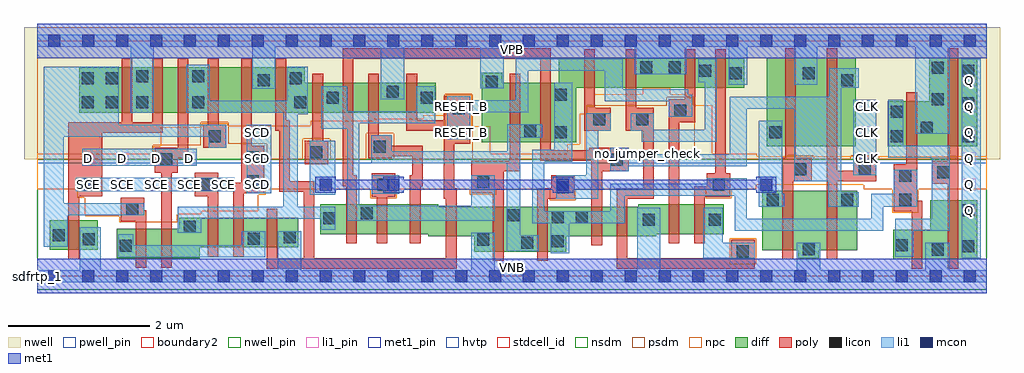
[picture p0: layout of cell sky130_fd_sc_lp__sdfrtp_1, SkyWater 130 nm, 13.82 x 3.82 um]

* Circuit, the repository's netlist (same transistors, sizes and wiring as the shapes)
* Copyright 2020 The SkyWater PDK Authors
*
* Licensed under the Apache License, Version 2.0 (the "License");
* you may not use this file except in compliance with the License.
* You may obtain a copy of the License at
*
*     https://www.apache.org/licenses/LICENSE-2.0
*
* Unless required by applicable law or agreed to in writing, software
* distributed under the License is distributed on an "AS IS" BASIS,
* WITHOUT WARRANTIES OR CONDITIONS OF ANY KIND, either express or implied.
* See the License for the specific language governing permissions and
* limitations under the License.
*
* SPDX-License-Identifier: Apache-2.0

.SUBCKT sky130_fd_sc_lp__sdfrtp_1 CLK D RESET_B SCD SCE VGND VNB VPB VPWR Q
*.PININFO CLK:I D:I RESET_B:I SCD:I SCE:I VGND:I VNB:I VPB:I VPWR:I
*.PININFO Q:O
MI642 clkneg CLK VGND VNB sky130_fd_pr__nfet_01v8 m=1 w=0.84U l=0.15U mult=1 sa=0.265
+ sb=0.265 sd=0.28 area=0.063 perim=1.14
MI636 clkpos clkneg VGND VNB sky130_fd_pr__nfet_01v8 m=1 w=0.84U l=0.15U mult=1
+ sa=0.265 sb=0.265 sd=0.28 area=0.063 perim=1.14
MI42 db clkneg M0 VNB sky130_fd_pr__nfet_01v8 m=1 w=0.42U l=0.15U mult=1 sa=0.265
+ sb=0.265 sd=0.28 area=0.063 perim=1.14
MI656 net062 s0 net048 VNB sky130_fd_pr__nfet_01v8 m=1 w=0.42U l=0.15U mult=1 sa=0.265
+ sb=0.265 sd=0.28 area=0.063 perim=1.14
MI657 net048 RESET_B VGND VNB sky130_fd_pr__nfet_01v8 m=1 w=0.42U l=0.15U mult=1
+ sa=0.265 sb=0.265 sd=0.28 area=0.063 perim=1.14
MI33 net069 RESET_B VGND VNB sky130_fd_pr__nfet_01v8 m=1 w=0.42U l=0.15U mult=1
+ sa=0.265 sb=0.265 sd=0.28 area=0.063 perim=1.14
MI634 sceb SCE VGND VNB sky130_fd_pr__nfet_01v8 m=1 w=0.42U l=0.15U mult=1 sa=0.265
+ sb=0.265 sd=0.28 area=0.063 perim=1.14
MI4 M0 clkpos net077 VNB sky130_fd_pr__nfet_01v8 m=1 w=0.42U l=0.15U mult=1 sa=0.265
+ sb=0.265 sd=0.28 area=0.063 perim=1.14
MI34 net077 M1 net069 VNB sky130_fd_pr__nfet_01v8 m=1 w=0.42U l=0.15U mult=1 sa=0.265
+ sb=0.265 sd=0.28 area=0.063 perim=1.14
MI655 s0 clkneg net061 VNB sky130_fd_pr__nfet_01v8 m=1 w=0.42U l=0.15U mult=1 sa=0.265
+ sb=0.265 sd=0.28 area=0.063 perim=1.14
MI652 net041 s0 VGND VNB sky130_fd_pr__nfet_01v8 m=1 w=0.42U l=0.15U mult=1 sa=0.265
+ sb=0.265 sd=0.28 area=0.063 perim=1.14
MI653 Q net041 VGND VNB sky130_fd_pr__nfet_01v8 m=1 w=0.84U l=0.15U mult=1 sa=0.265
+ sb=0.265 sd=0.28 area=0.063 perim=1.14
MI654 net061 net062 VGND VNB sky130_fd_pr__nfet_01v8 m=1 w=0.42U l=0.15U mult=1
+ sa=0.265 sb=0.265 sd=0.28 area=0.063 perim=1.14
MI647 M1 M0 VGND VNB sky130_fd_pr__nfet_01v8 m=1 w=0.64U l=0.15U mult=1 sa=0.265
+ sb=0.265 sd=0.28 area=0.063 perim=1.14
MI649 M1 clkpos s0 VNB sky130_fd_pr__nfet_01v8 m=1 w=0.64U l=0.15U mult=1 sa=0.265
+ sb=0.265 sd=0.28 area=0.063 perim=1.14
MI666 net84 RESET_B VGND VNB sky130_fd_pr__nfet_01v8 m=1 w=0.42U l=0.15U mult=1
+ sa=0.265 sb=0.265 sd=0.28 area=0.525 perim=3.1
MI98 db D n0 VNB sky130_fd_pr__nfet_01v8 m=1 w=0.42U l=0.15U mult=1 sa=0.265 sb=0.265
+ sd=0.28 area=0.525 perim=3.1
MI103 n1 SCD net84 VNB sky130_fd_pr__nfet_01v8 m=1 w=0.42U l=0.15U mult=1 sa=0.265
+ sb=0.265 sd=0.28 area=0.525 perim=3.1
MI120 db SCE n1 VNB sky130_fd_pr__nfet_01v8 m=1 w=0.42U l=0.15U mult=1 sa=0.265
+ sb=0.265 sd=0.28 area=0.525 perim=3.1
MI104 n0 sceb net84 VNB sky130_fd_pr__nfet_01v8 m=1 w=0.42U l=0.15U mult=1 sa=0.265
+ sb=0.265 sd=0.28 area=0.525 perim=3.1
MI643 clkneg CLK VPWR VPB sky130_fd_pr__pfet_01v8_hvt m=1 w=1.26U l=0.15U mult=1
+ sa=0.265 sb=0.265 sd=0.28 area=0.063 perim=1.14
MI635 clkpos clkneg VPWR VPB sky130_fd_pr__pfet_01v8_hvt m=1 w=1.26U l=0.15U mult=1
+ sa=0.265 sb=0.265 sd=0.28 area=0.063 perim=1.14
MI43 db clkpos M0 VPB sky130_fd_pr__pfet_01v8_hvt m=1 w=0.42U l=0.15U mult=1 sa=0.265
+ sb=0.265 sd=0.28 area=0.063 perim=1.14
MI662 net0133 net062 VPWR VPB sky130_fd_pr__pfet_01v8_hvt m=1 w=0.42U l=0.15U mult=1
+ sa=0.265 sb=0.265 sd=0.28 area=0.063 perim=1.14
MI659 net062 RESET_B VPWR VPB sky130_fd_pr__pfet_01v8_hvt m=1 w=0.42U l=0.15U mult=1
+ sa=0.265 sb=0.265 sd=0.28 area=0.063 perim=1.14
MI664 s0 clkpos net0133 VPB sky130_fd_pr__pfet_01v8_hvt m=1 w=0.42U l=0.15U mult=1
+ sa=0.265 sb=0.265 sd=0.28 area=0.063 perim=1.14
MI658 net062 s0 VPWR VPB sky130_fd_pr__pfet_01v8_hvt m=1 w=0.42U l=0.15U mult=1
+ sa=0.265 sb=0.265 sd=0.28 area=0.063 perim=1.14
MI30 net0156 M1 VPWR VPB sky130_fd_pr__pfet_01v8_hvt m=1 w=0.42U l=0.15U mult=1
+ sa=0.265 sb=0.265 sd=0.28 area=0.063 perim=1.14
MI31 M0 clkneg net0156 VPB sky130_fd_pr__pfet_01v8_hvt m=1 w=0.42U l=0.15U mult=1
+ sa=0.265 sb=0.265 sd=0.28 area=0.063 perim=1.14
MI32 M0 RESET_B VPWR VPB sky130_fd_pr__pfet_01v8_hvt m=1 w=0.42U l=0.15U mult=1
+ sa=0.265 sb=0.265 sd=0.28 area=0.063 perim=1.14
MI663 net041 s0 VPWR VPB sky130_fd_pr__pfet_01v8_hvt m=1 w=0.64U l=0.15U mult=1
+ sa=0.265 sb=0.265 sd=0.28 area=0.063 perim=1.14
MI660 Q net041 VPWR VPB sky130_fd_pr__pfet_01v8_hvt m=1 w=1.26U l=0.15U mult=1
+ sa=0.265 sb=0.265 sd=0.28 area=0.063 perim=1.14
MI648 M1 M0 VPWR VPB sky130_fd_pr__pfet_01v8_hvt m=1 w=0.84U l=0.15U mult=1 sa=0.265
+ sb=0.265 sd=0.28 area=0.063 perim=1.14
MI650 M1 clkneg s0 VPB sky130_fd_pr__pfet_01v8_hvt m=1 w=0.84U l=0.15U mult=1 sa=0.265
+ sb=0.265 sd=0.28 area=0.063 perim=1.14
MI633 sceb SCE VPWR VPB sky130_fd_pr__pfet_01v8_hvt m=1 w=0.64U l=0.15U mult=1
+ sa=0.265 sb=0.265 sd=0.28 area=0.063 perim=1.14
MI101 db sceb p1 VPB sky130_fd_pr__pfet_01v8_hvt m=1 w=0.64U l=0.15U mult=1 sa=0.265
+ sb=0.265 sd=0.28 area=0.063 perim=1.14
MI107 p0 SCE VPWR VPB sky130_fd_pr__pfet_01v8_hvt m=1 w=0.64U l=0.15U mult=1 sa=0.265
+ sb=0.265 sd=0.28 area=0.063 perim=1.14
MI94 db D p0 VPB sky130_fd_pr__pfet_01v8_hvt m=1 w=0.64U l=0.15U mult=1 sa=0.265
+ sb=0.265 sd=0.28 area=0.063 perim=1.14
MI108 p1 SCD VPWR VPB sky130_fd_pr__pfet_01v8_hvt m=1 w=0.64U l=0.15U mult=1 sa=0.265
+ sb=0.265 sd=0.28 area=0.063 perim=1.14
MI665 db RESET_B VPWR VPB sky130_fd_pr__pfet_01v8_hvt m=1 w=0.64U l=0.15U mult=1
+ sa=0.265 sb=0.265 sd=0.28 area=0.063 perim=1.14
.ENDS sky130_fd_sc_lp__sdfrtp_1

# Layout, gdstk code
import gdstk
lib = gdstk.Library(unit=1e-6, precision=1e-09)
def R(c, l, rs):  # rectangles x0, y0, x1, y1
    for r in rs: c.add(gdstk.rectangle(r[:2], r[2:], *l))
def A(c, l, x, y, w, h, nx, ny, dx, dy):  # array of equal rectangles
    R(c, l, [(x+i*dx, y+j*dy, x+i*dx+w, y+j*dy+h) for i in range(nx) for j in range(ny)])
def P(c, l, *ps):  # polygons
    for p in ps: c.add(gdstk.Polygon(p, *l))
nwell_pin = (64, 16)
nwell = (64, 20)
diff = (65, 20)
poly = (66, 20)
licon = (66, 44)
li1_pin = (67, 16)
li1 = (67, 20)
mcon = (67, 44)
met1_pin = (68, 16)
met1 = (68, 20)
hvtp = (78, 44)
stdcell_id = (81, 4)
nsdm = (93, 44)
psdm = (94, 20)
npc = (95, 20)
pwell_pin = (122, 16)
boundary2 = (236, 0)

sky130_fd_sc_lp__sdfrtp_ = lib.new_cell('sky130_fd_sc_lp__sdfrtp_1')
R(sky130_fd_sc_lp__sdfrtp_, nwell_pin, [(0,3.085,13.44,3.33)])
R(sky130_fd_sc_lp__sdfrtp_, nwell, [(-0.19,1.655,13.63,3.52)])
R(sky130_fd_sc_lp__sdfrtp_, diff, [(0.175,0.37,0.855,0.79), (10.325,1.835,11.59,3.095)])
P(sky130_fd_sc_lp__sdfrtp_, diff, [(3.695,0.825),(2.01,0.825),(2.01,0.67),(1.125,0.67),(1.125,0.25),(2.3,0.25),(2.3,0.405),(3.695,0.405)],
  [(5.64,2.735),(3.785,2.735),(3.785,2.955),(0.59,2.955),(0.59,2.315),(5.64,2.315)],
  [(9.715,1.015),(8.51,1.015),(8.51,0.985),(5.675,0.985),(5.675,1.015),(4.005,1.015),(4.005,0.595),(5.535,0.595),(5.535,0.565),(6.185,0.565),(6.185,0.345),(7.49,0.345),(7.49,0.565),(8.76,0.565),(8.76,0.595),(9.715,0.595)],
  [(10.01,3.085),(7.38,3.085),(7.38,2.735),(6.58,2.735),(6.58,2.88),(6.29,2.88),(6.29,1.895),(7.63,1.895),(7.63,2.665),(10.01,2.665)],
  [(11.61,1.205),(10.265,1.205),(10.265,0.365),(10.775,0.365),(10.775,0.255),(11.065,0.255),(11.065,0.365),(11.61,0.365)],
  [(13.305,3.095),(12.625,3.095),(12.625,2.475),(12.04,2.475),(12.04,1.835),(13.305,1.835)],
  [(13.305,1.075),(12.64,1.075),(12.64,0.655),(12.115,0.655),(12.115,0.235),(13.305,0.235)])
P(sky130_fd_sc_lp__sdfrtp_, poly, [(1.54,0.93),(1.51,0.93),(1.51,1.11),(1.18,1.11),(1.18,0.78),(1.39,0.78),(1.39,0.12),(1.54,0.12)],
  [(1.775,3.085),(1.625,3.085),(1.625,2.18),(1.345,2.18),(1.345,3.085),(1.195,3.085),(1.195,2.18),(0.44,2.18),(0.44,0.24),(0.59,0.24),(0.59,1.13),(0.915,1.13),(0.915,2.03),(1.775,2.03)],
  [(2.135,3.085),(1.985,3.085),(1.985,1.82),(1.66,1.82),(1.66,1.46),(1.75,1.46),(1.75,0.12),(1.9,0.12),(1.9,1.46),(1.99,1.46),(1.99,1.67),(2.135,1.67)],
  [(2.56,1.46),(2.23,1.46),(2.23,1.13),(2.41,1.13),(2.41,0.275),(2.56,0.275)],
  [(2.675,2.145),(2.565,2.145),(2.565,3.085),(2.415,3.085),(2.415,2.145),(2.345,2.145),(2.345,1.815),(2.675,1.815)],
  [(3.215,1.845),(3.035,1.845),(3.035,3.085),(2.885,3.085),(2.885,1.325),(2.77,1.325),(2.77,0.275),(2.92,0.275),(2.92,1.175),(3.215,1.175)],
  [(4.115,1.915),(4.045,1.915),(4.045,2.865),(3.895,2.865),(3.895,1.915),(3.785,1.915),(3.785,1.585),(4.115,1.585)],
  [(5.065,1.455),(4.735,1.455),(4.735,1.125),(4.805,1.125),(4.805,0.465),(4.955,0.465),(4.955,1.125),(5.065,1.125)],
  [(5.455,1.845),(5.015,1.845),(5.015,1.995),(4.835,1.995),(4.835,2.865),(4.685,2.865),(4.685,1.665),(5.015,1.665),(5.015,1.695),(5.305,1.695),(5.305,1.425),(5.275,1.425),(5.275,0.465),(5.425,0.465),(5.425,1.275),(5.455,1.275)],
  [(6.13,2.545),(5.755,2.545),(5.755,2.205),(5.375,2.205),(5.375,2.865),(5.225,2.865),(5.225,2.055),(5.755,2.055),(5.755,1.095),(5.785,1.095),(5.785,0.255),(3.92,0.255),(3.92,1.345),(3.575,1.345),(3.575,2.205),(3.52,2.205),(3.52,3.085),(3.37,3.085),(3.37,2.055),(3.425,2.055),(3.425,1.195),(3.77,1.195),(3.77,0.255),(3.395,0.255),(3.395,0.955),(3.245,0.955),(3.245,0.105),(5.935,0.105),(5.935,1.245),(5.905,1.245),(5.905,1.875),(6.13,1.875)],
  [(6.84,2.865),(6.69,2.865),(6.69,1.635),(6.145,1.635),(6.145,1.17),(6.45,1.17),(6.45,0.215),(6.6,0.215),(6.6,1.485),(6.84,1.485)],
  [(7.605,1.425),(7.275,1.425),(7.275,1.245),(7.075,1.245),(7.075,0.215),(7.225,0.215),(7.225,1.095),(7.605,1.095)],
  [(8.12,2.385),(7.89,2.385),(7.89,3.215),(7.74,3.215),(7.74,2.055),(8.12,2.055)],
  [(8.37,1.815),(7.815,1.815),(7.815,1.785),(7.27,1.785),(7.27,3.225),(4.325,3.225),(4.325,1.275),(4.375,1.275),(4.375,0.465),(4.525,0.465),(4.525,1.425),(4.475,1.425),(4.475,3.075),(7.12,3.075),(7.12,1.635),(7.845,1.635),(7.845,0.435),(7.995,0.435),(7.995,1.485),(8.37,1.485)],
  [(9.315,3.215),(9.165,3.215),(9.165,2.505),(8.94,2.505),(8.94,0.465),(9.09,0.465),(9.09,2.175),(9.315,2.175)],
  [(9.81,1.455),(9.745,1.455),(9.745,3.215),(9.595,3.215),(9.595,1.455),(9.48,1.455),(9.48,1.275),(9.3,1.275),(9.3,0.465),(9.45,0.465),(9.45,1.125),(9.81,1.125)],
  [(10.155,0.515),(9.825,0.515),(9.825,0.255),(8.355,0.255),(8.355,1.095),(8.73,1.095),(8.73,2.385),(8.48,2.385),(8.48,3.215),(8.33,3.215),(8.33,2.055),(8.58,2.055),(8.58,1.245),(8.205,1.245),(8.205,0.105),(10.155,0.105)],
  [(10.965,1.675),(10.74,1.675),(10.74,3.225),(10.59,3.225),(10.59,1.675),(10.55,1.675),(10.55,0.235),(10.7,0.235),(10.7,1.345),(10.965,1.345)],
  [(11.88,1.675),(11.55,1.675),(11.55,1.495),(11.325,1.495),(11.325,3.225),(11.175,3.225),(11.175,0.235),(11.325,0.235),(11.325,1.345),(11.88,1.345)],
  [(12.53,1.065),(12.455,1.065),(12.455,2.605),(12.305,2.605),(12.305,1.585),(12.125,1.585),(12.125,0.915),(12.38,0.915),(12.38,0.105),(12.53,0.105)],
  [(13.04,3.225),(12.89,3.225),(12.89,1.635),(12.665,1.635),(12.665,1.305),(12.89,1.305),(12.89,0.105),(13.04,0.105)])
A(sky130_fd_sc_lp__sdfrtp_, licon, 13.095, 1.895, 0.17, 0.17, 1, 3, 0, 0.465)
R(sky130_fd_sc_lp__sdfrtp_, licon, [(9.905,0.265,10.075,0.435), (12.665,0.285,12.835,0.455), (10.835,0.295,11.005,0.465), (13.095,0.335,13.265,0.505), (1.165,0.345,1.335,0.515), (12.155,0.355,12.325,0.525), (6.85,0.385,7.02,0.555), (7.28,0.405,7.45,0.575), (6.225,0.43,6.395,0.6), (0.645,0.44,0.815,0.61), (2.975,0.445,3.145,0.615), (3.485,0.465,3.655,0.635), (0.215,0.495,0.385,0.665), (2.07,0.615,2.24,0.785), (8.57,0.715,8.74,0.885), (9.505,0.715,9.675,0.885), (4.045,0.735,4.215,0.905), (7.28,0.745,7.45,0.915), (7.62,0.745,7.79,0.915), (6.655,0.775,6.825,0.945), (4.58,0.805,4.75,0.975), (13.095,0.845,13.265,1.015), (1.26,0.86,1.43,1.03), (10.325,0.995,10.495,1.165), (11.38,0.995,11.55,1.165), (12.205,0.995,12.375,1.165), (7.355,1.175,7.525,1.345), (4.815,1.205,4.985,1.375), (9.56,1.205,9.73,1.375), (0.665,1.21,0.835,1.38), (2.31,1.21,2.48,1.38), (6.225,1.25,6.395,1.42), (2.965,1.255,3.135,1.425), (12.205,1.335,12.375,1.505), (12.745,1.385,12.915,1.555), (10.715,1.425,10.885,1.595), (11.63,1.425,11.8,1.595), (8.12,1.565,8.29,1.735), (1.74,1.57,1.91,1.74), (2.965,1.595,3.135,1.765), (3.865,1.665,4.035,1.835), (4.765,1.745,4.935,1.915), (2.425,1.895,2.595,2.065), (12.08,1.895,12.25,2.065), (10.365,1.95,10.535,2.12), (5.88,1.955,6.05,2.125), (7.325,1.955,7.495,2.125), (6.895,1.97,7.065,2.14), (12.51,2.015,12.68,2.185), (7.87,2.135,8.04,2.305), (8.48,2.135,8.65,2.305), (12.08,2.245,12.25,2.415), (9.02,2.255,9.19,2.425), (5.88,2.295,6.05,2.465), (0.63,2.375,0.8,2.545), (0.97,2.375,1.14,2.545), (1.4,2.375,1.57,2.545), (2.19,2.375,2.36,2.545), (3.635,2.375,3.805,2.545), (12.665,2.42,12.835,2.59), (4.1,2.44,4.27,2.61), (5.43,2.44,5.6,2.61), (7.325,2.485,7.495,2.655), (4.945,2.525,5.115,2.695), (6.35,2.67,6.52,2.84), (3.12,2.685,3.29,2.855), (11.38,2.69,11.55,2.86), (0.63,2.715,0.8,2.885), (0.97,2.715,1.14,2.885), (3.575,2.715,3.745,2.885), (1.4,2.745,1.57,2.915), (2.19,2.745,2.36,2.915), (9.8,2.79,9.97,2.96), (10.835,2.79,11.005,2.96), (9.37,2.825,9.54,2.995), (12.665,2.865,12.835,3.035), (8.535,2.875,8.705,3.045), (8.94,2.875,9.11,3.045)])
A(sky130_fd_sc_lp__sdfrtp_, li1_pin, 13.115, 0.84, 0.17, 0.17, 1, 6, 0, 0.37)
A(sky130_fd_sc_lp__sdfrtp_, li1_pin, 0.635, 1.21, 0.17, 0.17, 6, 1, 0.48, 0)
A(sky130_fd_sc_lp__sdfrtp_, li1_pin, 0.635, 1.58, 0.17, 0.17, 4, 1, 0.48, 0)
A(sky130_fd_sc_lp__sdfrtp_, li1_pin, 11.675, 1.58, 0.17, 0.17, 1, 3, 0, 0.37)
R(sky130_fd_sc_lp__sdfrtp_, li1_pin, [(3.035,1.58,3.205,1.75), (3.035,1.95,3.205,2.12), (5.915,1.95,6.085,2.12), (5.915,2.32,6.085,2.49)])
R(sky130_fd_sc_lp__sdfrtp_, li1, [(13.085,0.255,13.355,3.075), (3.855,1.155,4.215,1.915), (4.735,1.165,5.125,1.43), (2.965,1.175,3.31,2.145), (0.54,1.2,2.795,1.395), (11.55,1.425,11.88,2.5), (0.635,1.565,2.255,1.805)])
P(sky130_fd_sc_lp__sdfrtp_, li1, [(2.675,2.145),(1.15,2.145),(1.15,2.965),(0.09,2.965),(0.09,0.415),(0.43,0.415),(0.43,0.86),(1.51,0.86),(1.51,1.03),(0.37,1.03),(0.37,1.975),(2.425,1.975),(2.425,1.815),(2.675,1.815)],
  [(3.225,0.635),(2.895,0.635),(2.895,0.435),(1.355,0.435),(1.355,0.595),(1.145,0.595),(1.145,0.265),(3.225,0.265)],
  [(4.215,0.985),(3.685,0.985),(3.685,2.295),(3.825,2.295),(3.825,2.965),(3.54,2.965),(3.54,2.485),(2.44,2.485),(2.44,2.995),(2.11,2.995),(2.11,2.315),(3.48,2.315),(3.48,0.985),(1.99,0.985),(1.99,0.615),(2.32,0.615),(2.32,0.815),(4.015,0.815),(4.015,0.655),(4.215,0.655)],
  [(12.915,1.845),(12.26,1.845),(12.26,2.495),(12.05,2.495),(12.05,1.675),(12.665,1.675),(12.665,0.815),(12.15,0.815),(12.15,0.275),(12.405,0.275),(12.405,0.645),(12.915,0.645)],
  [(6.475,1.43),(6.145,1.43),(6.145,0.995),(4.555,0.995),(4.555,2.165),(5.63,2.165),(5.63,2.69),(5.365,2.69),(5.365,2.335),(4.385,2.335),(4.385,2.69),(4.02,2.69),(4.02,2.085),(4.385,2.085),(4.385,0.785),(6.475,0.785)],
  [(13.44,3.415),(0,3.415),(0,3.245),(1.32,3.245),(1.32,2.315),(1.65,2.315),(1.65,3.245),(3.04,3.245),(3.04,2.655),(3.37,2.655),(3.37,3.245),(4.865,3.245),(4.865,2.505),(5.195,2.505),(5.195,3.245),(6.27,3.245),(6.27,2.66),(6.6,2.66),(6.6,3.245),(8.455,3.245),(8.455,2.855),(9.19,2.855),(9.19,3.245),(9.79,3.245),(9.79,2.71),(10.05,2.71),(10.05,3.245),(10.715,3.245),(10.715,2.71),(11.04,2.71),(11.04,3.245),(12.43,3.245),(12.43,2.015),(12.915,2.015),(12.915,3.245),(13.44,3.245)],
  [(13.44,0.085),(12.915,0.085),(12.915,0.475),(12.575,0.475),(12.575,0.085),(11.085,0.085),(11.085,0.475),(10.755,0.475),(10.755,0.085),(8.82,0.085),(8.82,0.965),(8.49,0.965),(8.49,0.085),(6.475,0.085),(6.475,0.615),(6.145,0.615),(6.145,0.085),(3.735,0.085),(3.735,0.635),(3.405,0.635),(3.405,0.085),(0.895,0.085),(0.895,0.69),(0.6,0.69),(0.6,0.085),(0,0.085),(0,-0.085),(13.44,-0.085)],
  [(7.145,2.15),(6.655,2.15),(6.655,1.77),(5.015,1.77),(5.015,1.995),(4.725,1.995),(4.725,1.6),(6.645,1.6),(6.645,0.355),(7.1,0.355),(7.1,0.575),(6.835,0.575),(6.835,1.96),(7.145,1.96)],
  [(8.12,2.305),(7.77,2.305),(7.77,1.425),(7.345,1.425),(7.345,1.095),(7.94,1.095),(7.94,2.055),(8.12,2.055)],
  [(9.27,2.57),(9.215,2.57),(9.215,2.645),(8.285,2.645),(8.285,3.075),(6.77,3.075),(6.77,2.49),(6.13,2.49),(6.13,2.545),(5.8,2.545),(5.8,1.94),(6.13,1.94),(6.13,2.32),(6.95,2.32),(6.95,2.905),(8.035,2.905),(8.035,2.475),(8.94,2.475),(8.94,2.255),(9.27,2.255)],
  [(9.62,3.075),(9.36,3.075),(9.36,2.745),(9.45,2.745),(9.45,2.075),(8.73,2.075),(8.73,2.305),(8.4,2.305),(8.4,2.055),(8.56,2.055),(8.56,1.905),(9.62,1.905)],
  [(10.155,0.475),(9.705,0.475),(9.705,0.965),(9.425,0.965),(9.425,0.255),(10.155,0.255)],
  [(10.575,1.165),(10.545,1.165),(10.545,2.2),(10.215,2.2),(10.215,0.985),(10.575,0.985)],
  [(12.455,1.505),(12.125,1.505),(12.125,1.165),(11.81,1.165),(11.81,0.815),(10.045,0.815),(10.045,1.385),(9.48,1.385),(9.48,1.305),(8.11,1.305),(8.11,0.915),(7.175,0.915),(7.175,1.62),(7.575,1.62),(7.575,2.735),(7.315,2.735),(7.315,1.79),(7.005,1.79),(7.005,0.745),(7.27,0.745),(7.27,0.325),(7.53,0.325),(7.53,0.745),(8.32,0.745),(8.32,1.135),(9.875,1.135),(9.875,0.645),(11.98,0.645),(11.98,0.985),(12.455,0.985)],
  [(11.63,1.185),(11.38,1.185),(11.38,2.67),(11.63,2.67),(11.63,2.94),(11.21,2.94),(11.21,2.54),(9.8,2.54),(9.8,1.725),(8.37,1.725),(8.37,1.815),(8.11,1.815),(8.11,1.485),(8.37,1.485),(8.37,1.555),(10.045,1.555),(10.045,2.37),(10.715,2.37),(10.715,1.345),(11.2,1.345),(11.2,0.985),(11.63,0.985)])
A(sky130_fd_sc_lp__sdfrtp_, mcon, 0.155, -0.085, 0.17, 0.17, 28, 2, 0.48, 3.33)
R(sky130_fd_sc_lp__sdfrtp_, mcon, [(3.995,1.21,4.165,1.38), (4.955,1.21,5.125,1.38), (7.355,1.21,7.525,1.38), (10.235,1.21,10.405,1.38)])
R(sky130_fd_sc_lp__sdfrtp_, met1_pin, [(0,0,13.44,0.245), (0,3.085,13.44,3.33)])
R(sky130_fd_sc_lp__sdfrtp_, met1, [(0,-0.245,13.44,0.245), (0,3.085,13.44,3.575)])
P(sky130_fd_sc_lp__sdfrtp_, met1, [(10.465,1.41),(10.175,1.41),(10.175,1.365),(7.585,1.365),(7.585,1.41),(7.295,1.41),(7.295,1.365),(5.185,1.365),(5.185,1.41),(4.895,1.41),(4.895,1.365),(4.225,1.365),(4.225,1.41),(3.935,1.41),(3.935,1.18),(4.225,1.18),(4.225,1.225),(4.895,1.225),(4.895,1.18),(5.185,1.18),(5.185,1.225),(7.295,1.225),(7.295,1.18),(7.585,1.18),(7.585,1.225),(10.175,1.225),(10.175,1.18),(10.465,1.18)])
R(sky130_fd_sc_lp__sdfrtp_, hvtp, [(0,1.6,13.44,3.33)])
R(sky130_fd_sc_lp__sdfrtp_, stdcell_id, [(0,0,13.44,3.33)])
R(sky130_fd_sc_lp__sdfrtp_, nsdm, [(0,-0.19,13.44,1.655)])
P(sky130_fd_sc_lp__sdfrtp_, psdm, [(13.44,3.52),(0,3.52),(0,1.655),(1.63,1.655),(1.63,1.85),(2.315,1.85),(2.315,2.175),(2.705,2.175),(2.705,1.875),(3.245,1.875),(3.245,1.655),(3.755,1.655),(3.755,1.945),(4.145,1.945),(4.145,1.655),(4.655,1.655),(4.655,2.025),(5.045,2.025),(5.045,1.655),(5.77,1.655),(5.77,2.575),(6.16,2.575),(6.16,1.655),(7.76,1.655),(7.76,2.415),(8.91,2.415),(8.91,2.535),(9.3,2.535),(9.3,1.655),(10.605,1.655),(10.605,1.705),(10.995,1.705),(10.995,1.655),(11.52,1.655),(11.52,1.705),(11.91,1.705),(11.91,1.655),(12.635,1.655),(12.635,1.665),(13.025,1.665),(13.025,1.655),(13.44,1.655)])
R(sky130_fd_sc_lp__sdfrtp_, npc, [(9.805,0.165,10.175,0.535)])
P(sky130_fd_sc_lp__sdfrtp_, npc, [(13.44,1.695),(10.185,1.695),(10.185,1.73),(9.555,1.73),(9.555,2.42),(9.29,2.42),(9.29,2.525),(9.185,2.525),(9.185,2.575),(8.96,2.575),(8.96,2.67),(8.57,2.67),(8.57,2.575),(7.875,2.575),(7.875,2.405),(7.77,2.405),(7.77,2.3),(7.68,2.3),(7.68,1.865),(7.505,1.865),(7.505,1.73),(6.415,1.73),(6.415,2.12),(6.15,2.12),(6.15,2.565),(5.78,2.565),(5.78,2.28),(5.465,2.28),(5.465,2.225),(4.77,2.225),(4.77,2.2),(3.87,2.2),(3.87,2.13),(2.695,2.13),(2.695,2.165),(2.325,2.165),(2.325,2.105),(1.745,2.105),(1.745,1.84),(1.64,1.84),(1.64,1.73),(0,1.73),(0,1.23),(0.565,1.23),(0.565,1.11),(0.67,1.11),(0.67,0.88),(0.68,0.88),(0.68,0.845),(1.16,0.845),(1.16,0.76),(1.98,0.76),(1.98,0.875),(2.32,0.875),(2.32,0.915),(3.13,0.915),(3.13,1.155),(3.235,1.155),(3.235,1.23),(4.715,1.23),(4.715,1.105),(5.085,1.105),(5.085,1.23),(6.125,1.23),(6.125,1.15),(6.495,1.15),(6.495,1.23),(7.255,1.23),(7.255,1.075),(7.625,1.075),(7.625,1.23),(9.46,1.23),(9.46,1.105),(9.83,1.105),(9.83,1.23),(10.175,1.23),(10.175,1.295),(11.7,1.295),(11.7,1.23),(12.105,1.23),(12.105,0.895),(12.475,0.895),(12.475,1.23),(13.44,1.23)])
R(sky130_fd_sc_lp__sdfrtp_, pwell_pin, [(0,0,13.44,0.245)])
R(sky130_fd_sc_lp__sdfrtp_, boundary2, [(0,0,13.44,3.33)])
sky130_fd_sc_lp__sdfrtp_.add(gdstk.Label('VNB', (6.72,0.123), layer=64, texttype=59))
sky130_fd_sc_lp__sdfrtp_.add(gdstk.Label('VPB', (6.72,3.208), layer=64, texttype=5))
sky130_fd_sc_lp__sdfrtp_.add(gdstk.Label('sdfrtp_1', (0,0), layer=83, texttype=44))
sky130_fd_sc_lp__sdfrtp_.add(gdstk.Label('no_jumper_check', (8.645,1.735), layer=83, texttype=44))
sky130_fd_sc_lp__sdfrtp_.add(gdstk.Label('VPWR', (6.72,3.208), layer=68, texttype=5))
sky130_fd_sc_lp__sdfrtp_.add(gdstk.Label('VGND', (6.72,0.123), layer=68, texttype=5))
sky130_fd_sc_lp__sdfrtp_.add(gdstk.Label('SCE', (0.72,1.295), layer=67, texttype=5))
sky130_fd_sc_lp__sdfrtp_.add(gdstk.Label('SCE', (1.2,1.295), layer=67, texttype=5))
sky130_fd_sc_lp__sdfrtp_.add(gdstk.Label('SCE', (1.68,1.295), layer=67, texttype=5))
sky130_fd_sc_lp__sdfrtp_.add(gdstk.Label('SCE', (2.16,1.295), layer=67, texttype=5))
sky130_fd_sc_lp__sdfrtp_.add(gdstk.Label('SCE', (2.64,1.295), layer=67, texttype=5))
sky130_fd_sc_lp__sdfrtp_.add(gdstk.Label('RESET_B', (6,2.035), layer=67, texttype=5))
sky130_fd_sc_lp__sdfrtp_.add(gdstk.Label('RESET_B', (6,2.405), layer=67, texttype=5))
sky130_fd_sc_lp__sdfrtp_.add(gdstk.Label('CLK', (11.76,1.665), layer=67, texttype=5))
sky130_fd_sc_lp__sdfrtp_.add(gdstk.Label('CLK', (11.76,2.035), layer=67, texttype=5))
sky130_fd_sc_lp__sdfrtp_.add(gdstk.Label('CLK', (11.76,2.405), layer=67, texttype=5))
sky130_fd_sc_lp__sdfrtp_.add(gdstk.Label('SCD', (3.12,1.295), layer=67, texttype=5))
sky130_fd_sc_lp__sdfrtp_.add(gdstk.Label('SCD', (3.12,1.665), layer=67, texttype=5))
sky130_fd_sc_lp__sdfrtp_.add(gdstk.Label('SCD', (3.12,2.035), layer=67, texttype=5))
sky130_fd_sc_lp__sdfrtp_.add(gdstk.Label('D', (0.72,1.665), layer=67, texttype=5))
sky130_fd_sc_lp__sdfrtp_.add(gdstk.Label('D', (1.2,1.665), layer=67, texttype=5))
sky130_fd_sc_lp__sdfrtp_.add(gdstk.Label('D', (1.68,1.665), layer=67, texttype=5))
sky130_fd_sc_lp__sdfrtp_.add(gdstk.Label('D', (2.16,1.665), layer=67, texttype=5))
sky130_fd_sc_lp__sdfrtp_.add(gdstk.Label('Q', (13.2,0.925), layer=67, texttype=5))
sky130_fd_sc_lp__sdfrtp_.add(gdstk.Label('Q', (13.2,1.295), layer=67, texttype=5))
sky130_fd_sc_lp__sdfrtp_.add(gdstk.Label('Q', (13.2,1.665), layer=67, texttype=5))
sky130_fd_sc_lp__sdfrtp_.add(gdstk.Label('Q', (13.2,2.035), layer=67, texttype=5))
sky130_fd_sc_lp__sdfrtp_.add(gdstk.Label('Q', (13.2,2.405), layer=67, texttype=5))
sky130_fd_sc_lp__sdfrtp_.add(gdstk.Label('Q', (13.2,2.775), layer=67, texttype=5))

lib.write_gds('sky130_fd_sc_lp__sdfrtp_1.gds')
